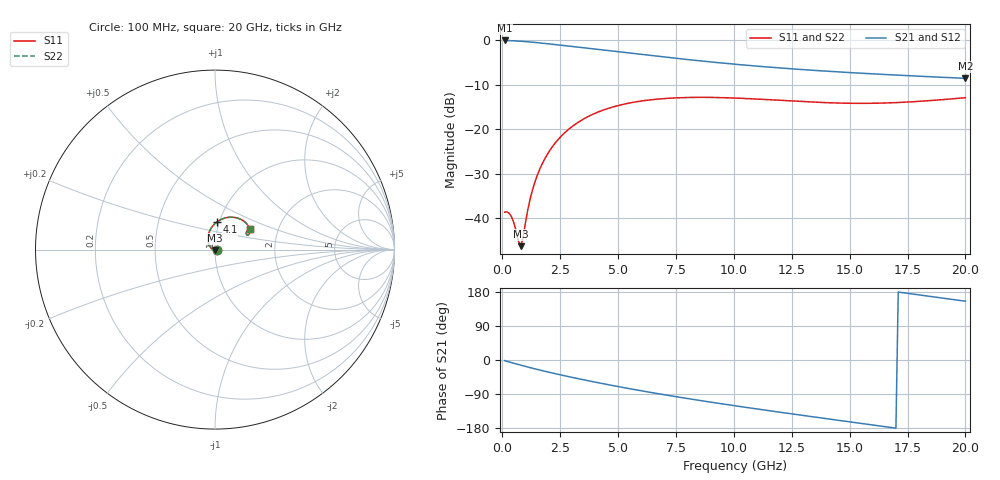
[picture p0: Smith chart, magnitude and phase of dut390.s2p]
! Touchstone file exported from HFSS 2024.1.0
!  File:  C:/UserFiles/LocalFiles/RDL_TSV_Batchsim/temp_RDL_TSV_390_1779647376.aedt
!  Generated:  02:42:13 AM May 25, 2026
!  Design:  RDL_TSV
!  Project:  temp_RDL_TSV_390_1779647376
!  Setup:  Setup1
!  Solution:  Sweep
! Variables:
!  dtsv = 13.22um
!  hbump = 3um
!  htsv = 55.44um
!  ldown = 657.35um
!  lrdl = 308.31um
!  p = 40
!  p1 = 43.92um
!  rhole = 10um
!  subl = 3205.29um
!  t = 450um
!  tdown = 4.85um
!  trdl = 4.25um
!  viad = 10um
!  wdown = 19.19um
!  wrdl = 28.96um
!  xbump = 18um
# GHz S MA R 50.000000
! Terminal data exported
! Port[1] = TM1_1_T1
! Port[2] = TM1_4_T1
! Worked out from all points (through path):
!   200 points, 100 MHz to 20 GHz, reference 50 ohm
!   highest |S21| = -0.11 dB at 100 MHz (marker M1); lowest = -8.6 dB at 20 GHz (marker M2)
!   group delay of S21, straight-line fit = 27 ps
!   lowest |S11| = -46.2 dB at 800 MHz (marker M3), VSWR 1.01, Z = 49.9 - j0.466 ohm
!   |S11| at or under -10 dB: start of sweep to end of sweep
!   |S22| runs from -46.2 to -12.9 dB; largest |S21 - S12| = 3.7e-14
!   S11 on the Smith chart (normalised r, x): 100 MHz: 1.02, -0.00; 4.1 GHz: 0.97, +0.31; 20 GHz: 1.43, +0.35
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0.1  0.01174 -1.7  0.9877 -1.8  0.9877 -1.8  0.01174 -1.7
! Gamma 0 0 0 0
! Port Impedance 50 0 50 0
0.3  0.01141 -12.8  0.9838 -5.3  0.9838 -5.3  0.01141 -12.8
0.4  0.01039 -21.1  0.9813 -7.0  0.9813 -7.0  0.01039 -21.1
0.5  0.00892 -31.5  0.9786 -8.7  0.9786 -8.7  0.008921 -31.6
0.7  0.005534 -69.6  0.9719 -12.0  0.9719 -12.0  0.005537 -69.6
0.8  0.004883 -106.9  0.9681 -13.7  0.9681 -13.7  0.004888 -106.9
0.9  0.006157 -144.2  0.9639 -15.3  0.9639 -15.3  0.00616 -144.1
1.1  0.01242 179.0  0.9547 -18.5  0.9547 -18.5  0.01242 179.1
1.2  0.01638 169.7  0.9497 -20.1  0.9497 -20.1  0.01638 169.7
1.4  0.02516 156.7  0.9392 -23.2  0.9392 -23.2  0.02515 156.8
1.7  0.03968 143.3  0.9224 -27.7  0.9224 -27.7  0.03967 143.3
2.1  0.06029 129.7  0.8992 -33.5  0.8992 -33.5  0.06028 129.7
2.5  0.08116 118.6  0.8758 -39.0  0.8758 -39.0  0.08114 118.6
3.5  0.1296 96.7  0.8186 -52.1  0.8186 -52.1  0.1296 96.7
4.1  0.1543 86.1  0.7856 -59.5  0.7856 -59.5  0.1542 86.1
5.3  0.1919 68.7  0.723 -73.5  0.723 -73.5  0.1919 68.8
6.8  0.2184 52.3  0.6525 -89.7  0.6525 -89.7  0.2185 52.3
8.4  0.2274 39.5  0.5884 -105.6  0.5884 -105.6  0.2275 39.6
10.1  0.223 30.3  0.5334 -121.2  0.5334 -121.2  0.2233 30.4
13.4  0.2013 23.8  0.4575 -149.8  0.4575 -149.8  0.2018 23.8
16.7  0.1972 27.9  0.4079 -177.4  0.4079 -177.4  0.1977 27.9
20  0.2253 31.3  0.3715 155.2  0.3715 155.2  0.2257 31.2
